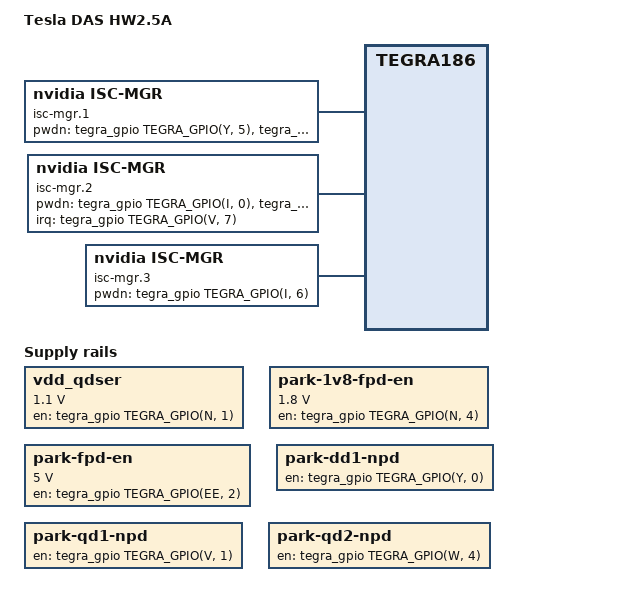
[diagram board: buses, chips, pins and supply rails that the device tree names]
/*
 * tegra186-tesla-hw25a: DTS for HW2.5A (Primary Parker)
 *
 * Copyright (c) 2017, Tesla Motors.  All rights reserved.
 *
 * Based on Drive PX2 DTS files:
 *
 * Copyright (c) 2016, NVIDIA CORPORATION.  All rights reserved.
 *
 * This program is free software; you can redistribute it and/or modify
 * it under the terms of the GNU General Public License as published by
 * the Free Software Foundation; version 2 of the License.
 *
 * This program is distributed in the hope that it will be useful, but WITHOUT
 * ANY WARRANTY; without even the implied warranty of MERCHANTABILITY or
 * FITNESS FOR A PARTICULAR PURPOSE.  See the GNU General Public License for
 * more details.
*/

#include "tegra186-tesla-das-hw20-rev-c.dts"

/ {
	model = "Tesla DAS HW2.5A";
	compatible = "tesla,das-hw25a", "nvidia,tegra186";

	nvidia,dtsfilename = __FILE__;

	/delete-node/thermal-fan-est;
	thermal-fan-est {
		status = "disabled";
	};

	pinmux@2430000 {
		common {
			/*
			 * BOARD Revision ID Straps. Pinmux in the
			 * bootchain has these pins pulled down and disabled.
			 * Enable them here.
			 */
			parka_board_id1: sdmmc3_dat0_pg2 {
				nvidia,pins = "sdmmc3_dat0_pg2";
				nvidia,function = "sdmmc3";
				nvidia,pull = <TEGRA_PIN_PULL_NONE>;
				nvidia,tristate = <TEGRA_PIN_DISABLE>;
				nvidia,enable-input = <TEGRA_PIN_ENABLE>;
			};
			parka_board_id2: sdmmc3_dat1_pg3 {
				nvidia,pins = "sdmmc3_dat1_pg3";
				nvidia,function = "sdmmc3";
				nvidia,pull = <TEGRA_PIN_PULL_NONE>;
				nvidia,tristate = <TEGRA_PIN_DISABLE>;
				nvidia,enable-input = <TEGRA_PIN_ENABLE>;
			};
			parka_board_id3: sdmmc3_dat2_pg4 {
				nvidia,pins = "sdmmc3_dat2_pg4";
				nvidia,function = "sdmmc3";
				nvidia,pull = <TEGRA_PIN_PULL_NONE>;
				nvidia,tristate = <TEGRA_PIN_DISABLE>;
				nvidia,enable-input = <TEGRA_PIN_ENABLE>;
			};
			parka_board_id4: sdmmc3_dat3_pg5 {
				nvidia,pins = "sdmmc3_dat3_pg5";
				nvidia,function = "sdmmc3";
				nvidia,pull = <TEGRA_PIN_PULL_NONE>;
				nvidia,tristate = <TEGRA_PIN_DISABLE>;
				nvidia,enable-input = <TEGRA_PIN_ENABLE>;
			};

		};
	};
	fixed-regulators {
	    /delete-node/regulator@5;
	    /delete-node/regulator@6;
	    /delete-node/regulator@9;

		/* 1V1 FPDlink enable */
		vdd_qdser: regulator@5 {
			compatible = "regulator-fixed-sync";
			reg = <5>;
			regulator-name = "vdd-qdser";
			regulator-min-microvolt = <1100000>;
			regulator-max-microvolt = <1100000>;
			gpio = <&tegra_gpio TEGRA_GPIO(N, 1) 0>;
			enable-active-high;
			regulator-always-on;
		};

		/* 1V8 FPDlink enable */
		regulator@6 {
			compatible = "regulator-fixed-sync";
			reg = <6>;
			regulator-name = "park-1v8-fpd-en";
			regulator-min-microvolt = <1800000>;
			regulator-max-microvolt = <1800000>;
			gpio = <&tegra_gpio TEGRA_GPIO(N, 4) 0>;
			startup-delay-us = <100000>;    /* 100 ms */
			enable-active-high;
			regulator-always-on;
		};

		/* FPDlink enable */
		regulator@7 {
			compatible = "regulator-fixed-sync";
			reg = <7>;
			regulator-name = "park-fpd-en";
			regulator-min-microvolt = <5000000>;
			regulator-max-microvolt = <5000000>;
			gpio = <&tegra_gpio TEGRA_GPIO(EE, 2) 0>;
			enable-active-high;
			regulator-always-on;
		};

		regulator@14 {
			compatible = "regulator-fixed-sync";
			reg = <14>;
			regulator-name = "park-dd1-npd";
			regulator-min-microvolt = <0>;
			regulator-max-microvolt = <0>;
			gpio = <&tegra_gpio TEGRA_GPIO(Y, 0) 1>;
			enable-active-high;
			regulator-always-on;
		};

		regulator@15 {
			compatible = "regulator-fixed-sync";
			reg = <15>;
			regulator-name = "park-qd1-npd";
			regulator-min-microvolt = <0>;
			regulator-max-microvolt = <0>;
			gpio = <&tegra_gpio TEGRA_GPIO(V, 1) 1>;
			enable-active-high;
			regulator-always-on;
		};

		regulator@16 {
			compatible = "regulator-fixed-sync";
			reg = <16>;
			regulator-name = "park-qd2-npd";
			regulator-min-microvolt = <0>;
			regulator-max-microvolt = <0>;
			gpio = <&tegra_gpio TEGRA_GPIO(W, 4) 1>;
			startup-delay-us = <100000>;    /* 100 ms */
			enable-active-high;
			regulator-always-on;
		};

	};

	padctl: pinctrl@3520000 {
		p2379_default: pinmux {
			usb2-std-A-port2 {
				nvidia,lanes = "otg-1";
				nvidia,function = "xusb";
				nvidia,port-cap = <TEGRA_PADCTL_PORT_HOST_ONLY>;
			};
		};
	};

	serial@c280000 { /* Tegra UARTC <-> Aurix UART: Debug console  */
		/*to maintain 115200 baud, clock frequecy changed with 480MHz*/
		clock-frequency = <480000000>;
	};

	xhci@3530000 {
		phys = <&padctl TEGRA_PADCTL_PHY_UTMI_P(0)>,
			<&padctl TEGRA_PADCTL_PHY_USB3_P(0)>,
			<&padctl TEGRA_PADCTL_PHY_UTMI_P(1)>;
		phy-names = "utmi-0", "usb3-0", "utmi-1";
	};

	/delete-node/isc-mgr.0;
	/delete-node/isc-mgr.1;
	/delete-node/isc-mgr.2;
	/delete-node/isc-mgr.3;

	isc-mgr.0 {
		compatible = "nvidia,isc-mgr";
		i2c-bus = <7>;
		csi-port = <0>; /* Second CSI port for the quad-2 deserializer */
		default-power-on;
		runtime-pwrctrl-off;
		interrupt-parent = <&tegra_gpio>;
		/* interrupts = <TEGRA_GPIO(EE, 2) 2>; */ /* GMSLA_STATUS_OC : falling edge sensitive */
		/* interrupts = <TEGRA_GPIO(Y, 2) 2>;*/ /* GMSLA_LOCKOUT : falling edge sensitive */
		status = "okay";

	};

	isc-mgr.1 {
		compatible = "nvidia,isc-mgr";
		i2c-bus = <7>;
		csi-port = <2>;
		pwdn-gpios = <
			&tegra_gpio TEGRA_GPIO(Y, 5) GPIO_ACTIVE_HIGH   /* PARK-RB-CAM-PWR-EN - Tegra(PY.05) */
			&tegra_gpio TEGRA_GPIO(L, 6) GPIO_ACTIVE_HIGH   /* PARK-LB-CAM-PWR-EN - Tegra(PL.06) */
			&tegra_gpio TEGRA_GPIO(N, 0) GPIO_ACTIVE_HIGH   /* PARK-NAR-CAM-PWR-EN - Tegra(PN.00) */
			&tegra_gpio TEGRA_GPIO(I, 4) GPIO_ACTIVE_HIGH   /* PARK-BU-CAM-PWR-EN */
		>;
		default-power-on;
		runtime-pwrctrl-off;
		interrupt-parent = <&tegra_gpio>;
		/*interrupts = <TEGRA_GPIO(FF, 0) 2>;*/ /* GMSLB_STATUS_OC : falling edge sensitive */
		/*interrupts = <TEGRA_GPIO(Y, 5) 2>;*/ /* GMSLB_LOCKOUT : falling edge sensitive */
		status = "okay";
	};

	isc-mgr.2 {
		compatible = "nvidia,isc-mgr";
		i2c-bus = <1>;
		csi-port = <4>;
		pwdn-gpios = <
			&tegra_gpio TEGRA_GPIO(I, 0) GPIO_ACTIVE_HIGH   /* PARK-MAIN-CAM-PWR-EN - Tegra(PI.00) */
			&tegra_gpio TEGRA_GPIO(J, 6) GPIO_ACTIVE_HIGH   /* PARK-RR-CAM-PWR-EN - TegraBall(PJ.06) */
			&tegra_gpio TEGRA_GPIO(Y, 1) GPIO_ACTIVE_HIGH   /* PARK-LR-CAM-PWR-EN - TegraBall(PY.01) */
			&tegra_gpio TEGRA_GPIO(B, 4) GPIO_ACTIVE_HIGH   /* PARK-FE-CAM-PWR-EN - Tegra(PB.04)  */
		>;
		default-power-on;
		runtime-pwrctrl-off;
		interrupt-parent = <&tegra_gpio>;
		interrupts = <TEGRA_GPIO(V, 7) 2>; /* GMSLC_STATUS_OC : falling edge sensitive */
		/*interrupts = <TEGRA_GPIO(Y, 6) 2>;*/ /* GMSLC_LOCKOUT : falling edge sensitive */
		status = "okay";

	};

	isc-mgr.3 {
		compatible = "nvidia,isc-mgr";
		i2c-bus = <2>;
		csi-port = <1>;
		pwdn-gpios = <
			&tegra_gpio TEGRA_GPIO(I, 6) GPIO_ACTIVE_HIGH   /* PARK-SC-CAM-PWR-EN */
		>;
		default-power-on;
		runtime-pwrctrl-off;
		interrupt-parent = <&tegra_gpio>;
		/*interrupts = <TEGRA_GPIO(Y, 5) 2>;*/ /* GMSLB_LOCKOUT : falling edge sensitive */
		status = "okay";
	};

	host1x {
		sor {
			hdmi-display {
			   /*
				* Force a TI949 720p edid to be compatible with ICE backup-camera feed.
				*
				*   Valid Checksum: TRUE
				*	EDID Header: OK
				*	EISA ID: TXN
				*	Product Code: 949
				*	Serial Number: 1
				*	Manufacture Date: 28/2014
				*	EDID Version: 1.3
				*	Number of Extensions: 0
				*	Checksum: 0x58
                *
				*	Pixel Clock: 74.25MHz
				*	Horizontal Active: 1280
				*	Horizontal Blanking: 370
				*	Vertical Active: 720
				*	Vertical Blanking: 30
				*	Horizontal Sync Offset: 110
				*	Horizontal Sync Pulse: 80
				*	Vertical Sync Offset: 5
				*	Vertical Sync Pulse: 5
				*	Horizontal Display Size: 512
				*	Vertical Display Size: 288
				*	Horizontal Border: 0
				*	Vertical Border: 0
				*	Interlaced: false
				*	Stereo Mode: 0
				*	Sync Type: 3
				*/
				nvidia,edid = [
						00 ff ff ff ff ff ff 00 53 0e 49 09 01 00 00 00
						1c 18 01 03 80 34 20 78 0a ec 18 a3 54 46 98 25
						0f 48 4c 00 00 00 01 01 01 01 01 01 01 01 01 01
						01 01 01 01 01 01 01 1d 00 72 51 d0 1e 20 6e 50
						55 00 00 20 21 00 00 18 00 00 00 fd 00 3b 3d 62
						64 08 00 0a 20 20 20 20 20 20 00 00 00 fc 00 54
						49 2d 44 53 39 30 55 78 39 34 39 0a 00 00 00 10
						00 00 00 00 00 00 00 00 00 00 00 00 00 00 00 58
					];
			};
		};
	};
};
